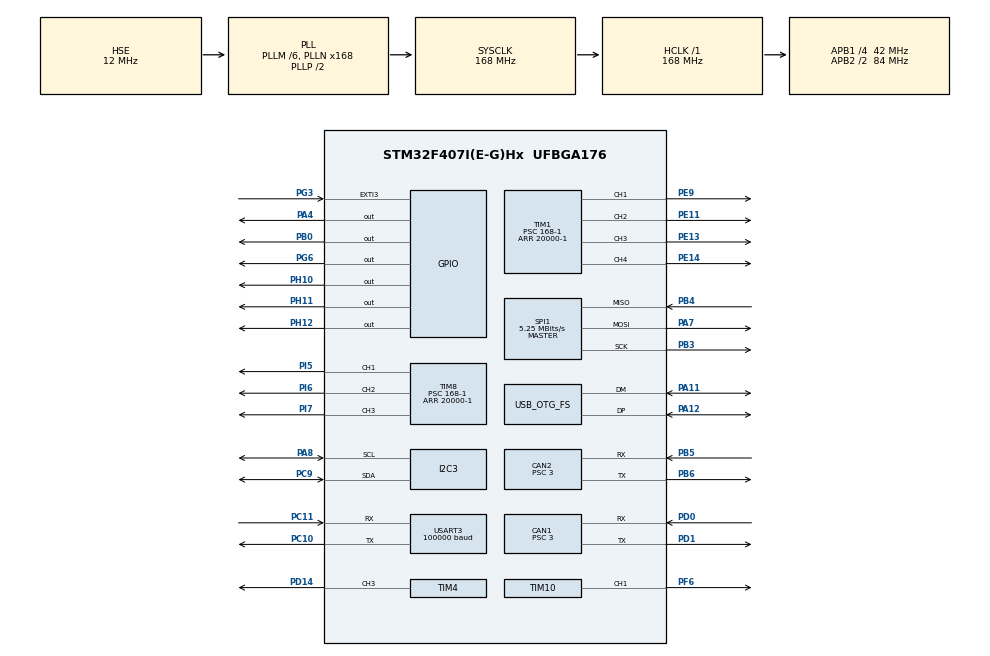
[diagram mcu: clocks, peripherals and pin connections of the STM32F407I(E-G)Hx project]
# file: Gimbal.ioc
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CAN1.BS1=CAN_BS1_10TQ
CAN1.BS2=CAN_BS2_3TQ
CAN1.CalculateBaudRate=1000000
CAN1.CalculateTimeBit=1000
CAN1.CalculateTimeQuantum=71.42857142857143
CAN1.Prescaler=3
CAN2.BS1=CAN_BS1_10TQ
CAN2.BS2=CAN_BS2_3TQ
CAN2.CalculateBaudRate=1000000
CAN2.CalculateTimeBit=1000
CAN2.CalculateTimeQuantum=71.42857142857143
CAN2.Prescaler=3
Dma.Request0=SPI1_RX
Dma.Request1=SPI1_TX
Dma.Request2=USART3_RX
Dma.SPI1_RX.0.Direction=DMA_PERIPH_TO_MEMORY
Dma.SPI1_RX.0.FIFOMode=DMA_FIFOMODE_DISABLE
Dma.SPI1_RX.0.Instance=DMA2_Stream0
Dma.SPI1_RX.0.MemDataAlignment=DMA_MDATAALIGN_BYTE
Dma.SPI1_RX.0.MemInc=DMA_MINC_ENABLE
Dma.SPI1_RX.0.Mode=DMA_NORMAL
Dma.SPI1_RX.0.PeriphDataAlignment=DMA_PDATAALIGN_BYTE
Dma.SPI1_RX.0.PeriphInc=DMA_PINC_DISABLE
Dma.SPI1_RX.0.Priority=DMA_PRIORITY_LOW
Dma.SPI1_TX.1.Direction=DMA_MEMORY_TO_PERIPH
Dma.SPI1_TX.1.FIFOMode=DMA_FIFOMODE_DISABLE
Dma.SPI1_TX.1.Instance=DMA2_Stream3
Dma.SPI1_TX.1.MemDataAlignment=DMA_MDATAALIGN_BYTE
Dma.SPI1_TX.1.MemInc=DMA_MINC_ENABLE
Dma.SPI1_TX.1.Mode=DMA_NORMAL
Dma.SPI1_TX.1.PeriphDataAlignment=DMA_PDATAALIGN_BYTE
Dma.SPI1_TX.1.PeriphInc=DMA_PINC_DISABLE
Dma.SPI1_TX.1.Priority=DMA_PRIORITY_LOW
Dma.USART3_RX.2.Direction=DMA_PERIPH_TO_MEMORY
Dma.USART3_RX.2.FIFOMode=DMA_FIFOMODE_DISABLE
Dma.USART3_RX.2.Instance=DMA1_Stream1
Dma.USART3_RX.2.MemDataAlignment=DMA_MDATAALIGN_BYTE
Dma.USART3_RX.2.MemInc=DMA_MINC_ENABLE
Dma.USART3_RX.2.Mode=DMA_CIRCULAR
Dma.USART3_RX.2.PeriphDataAlignment=DMA_PDATAALIGN_BYTE
Dma.USART3_RX.2.PeriphInc=DMA_PINC_DISABLE
Dma.USART3_RX.2.Priority=DMA_PRIORITY_LOW
I2C3.I2C_Mode=I2C_Fast
Mcu.Family=STM32F4
Mcu.Name=STM32F407I(E-G)Hx
Mcu.Package=UFBGA176
NVIC.CAN1_RX0_IRQn=true\:0\:0\:false\:false\:true\:true\:true\:true
NVIC.CAN1_TX_IRQn=true\:0\:0\:false\:false\:true\:true\:true\:true
NVIC.CAN2_RX0_IRQn=true\:0\:0\:true\:false\:true\:true\:true\:true
NVIC.CAN2_TX_IRQn=true\:0\:0\:true\:false\:true\:true\:true\:true
NVIC.DMA1_Stream1_IRQn=true\:0\:0\:false\:false\:true\:false\:true\:true
NVIC.DMA2_Stream0_IRQn=true\:0\:0\:false\:false\:true\:false\:true\:true
NVIC.DMA2_Stream3_IRQn=true\:0\:0\:false\:false\:true\:false\:true\:true
NVIC.OTG_FS_IRQn=true\:0\:0\:false\:false\:true\:false\:true\:true
NVIC.PriorityGroup=NVIC_PRIORITYGROUP_4
NVIC.TIM2_IRQn=true\:0\:0\:true\:false\:true\:true\:true\:true
NVIC.USART3_IRQn=true\:0\:0\:true\:false\:true\:true\:true\:true
PA11.Mode=Device_Only
PA11.Signal=USB_OTG_FS_DM
PA12.Mode=Device_Only
PA12.Signal=USB_OTG_FS_DP
PA13.Mode=Serial_Wire
PA13.Signal=SYS_JTMS-SWDIO
PA14.Mode=Serial_Wire
PA14.Signal=SYS_JTCK-SWCLK
PA4.PinState=GPIO_PIN_SET
PA4.Signal=GPIO_Output
PA7.Mode=Full_Duplex_Master
PA7.Signal=SPI1_MOSI
PA8.Mode=I2C
PA8.Signal=I2C3_SCL
PB0.PinState=GPIO_PIN_SET
PB0.Signal=GPIO_Output
PB3.Mode=Full_Duplex_Master
PB3.Signal=SPI1_SCK
PB4.Mode=Full_Duplex_Master
PB4.Signal=SPI1_MISO
PB5.Mode=CAN_Activate
PB5.Signal=CAN2_RX
PB6.Mode=CAN_Activate
PB6.Signal=CAN2_TX
PC10.Mode=Asynchronous
PC10.Signal=USART3_TX
PC11.Mode=Asynchronous
PC11.Signal=USART3_RX
PC9.Mode=I2C
PC9.Signal=I2C3_SDA
PD0.Mode=CAN_Activate
PD0.Signal=CAN1_RX
PD1.Mode=CAN_Activate
PD1.Signal=CAN1_TX
PD14.Signal=S_TIM4_CH3
PE11.Signal=S_TIM1_CH2
PE13.Signal=S_TIM1_CH3
PE14.Signal=S_TIM1_CH4
PE9.Signal=S_TIM1_CH1
PF6.Signal=S_TIM10_CH1
PG3.GPIO_ModeDefaultEXTI=GPIO_MODE_IT_FALLING
PG3.GPIO_PuPd=GPIO_PULLUP
PG3.Signal=GPXTI3
PG6.GPIO_Speed=GPIO_SPEED_FREQ_MEDIUM
PG6.PinState=GPIO_PIN_SET
PG6.Signal=GPIO_Output
PH0-OSC_IN.Mode=HSE-External-Oscillator
PH0-OSC_IN.Signal=RCC_OSC_IN
PH1-OSC_OUT.Mode=HSE-External-Oscillator
PH1-OSC_OUT.Signal=RCC_OSC_OUT
PH10.PinState=GPIO_PIN_SET
PH10.Signal=GPIO_Output
PH11.PinState=GPIO_PIN_SET
PH11.Signal=GPIO_Output
PH12.PinState=GPIO_PIN_SET
PH12.Signal=GPIO_Output
PI5.Signal=S_TIM8_CH1
PI6.Signal=S_TIM8_CH2
PI7.Signal=S_TIM8_CH3
ProjectManager.HeapSize=0x4000
ProjectManager.StackSize=0x4000
ProjectManager.TargetToolchain=MDK-ARM V5
RCC.48MHZClocksFreq_Value=48000000
RCC.AHBFreq_Value=168000000
RCC.APB1CLKDivider=RCC_HCLK_DIV4
RCC.APB1Freq_Value=42000000
RCC.APB1TimFreq_Value=84000000
RCC.APB2CLKDivider=RCC_HCLK_DIV2
RCC.APB2Freq_Value=84000000
RCC.APB2TimFreq_Value=168000000
RCC.CortexFreq_Value=168000000
RCC.HCLKFreq_Value=168000000
RCC.HSE_VALUE=12000000
RCC.HSI_VALUE=16000000
RCC.LSE_VALUE=32768
RCC.PLLM=6
RCC.PLLN=168
RCC.PLLQ=7
RCC.SYSCLKFreq_VALUE=168000000
RCC.SYSCLKSource=RCC_SYSCLKSOURCE_PLLCLK
RCC.VCOOutputFreq_Value=336000000
SH.S_TIM10_CH1.0=TIM10_CH1,PWM Generation1 CH1
SH.S_TIM1_CH1.0=TIM1_CH1,PWM Generation1 CH1
SH.S_TIM1_CH2.0=TIM1_CH2,PWM Generation2 CH2
SH.S_TIM1_CH3.0=TIM1_CH3,PWM Generation3 CH3
SH.S_TIM1_CH4.0=TIM1_CH4,PWM Generation4 CH4
SH.S_TIM4_CH3.0=TIM4_CH3,PWM Generation3 CH3
SH.S_TIM8_CH1.0=TIM8_CH1,PWM Generation1 CH1
SH.S_TIM8_CH2.0=TIM8_CH2,PWM Generation2 CH2
SH.S_TIM8_CH3.0=TIM8_CH3,Output Compare3 CH3
SPI1.BaudRatePrescaler=SPI_BAUDRATEPRESCALER_16
SPI1.CLKPhase=SPI_PHASE_2EDGE
SPI1.CLKPolarity=SPI_POLARITY_HIGH
SPI1.CalculateBaudRate=5.25 MBits/s
SPI1.Direction=SPI_DIRECTION_2LINES
SPI1.Mode=SPI_MODE_MASTER
SPI1.VirtualType=VM_MASTER
STMicroelectronics.X-CUBE-ALGOBUILD.1.4.0.LibraryCcDSPOoLibraryJjDSPOoLibrary=true
TIM1.Channel-PWM\ Generation1\ CH1=TIM_CHANNEL_1
TIM1.Channel-PWM\ Generation2\ CH2=TIM_CHANNEL_2
TIM1.Channel-PWM\ Generation3\ CH3=TIM_CHANNEL_3
TIM1.Channel-PWM\ Generation4\ CH4=TIM_CHANNEL_4
TIM1.Period=20000-1
TIM1.Prescaler=168-1
TIM1.Pulse-PWM\ Generation1\ CH1=2000
TIM1.Pulse-PWM\ Generation2\ CH2=2000
TIM1.Pulse-PWM\ Generation3\ CH3=2000
TIM1.Pulse-PWM\ Generation4\ CH4=2000
TIM10.Channel=TIM_CHANNEL_1
TIM10.Period=1000-1
TIM10.Prescaler=168-1
TIM2.AutoReloadPreload=TIM_AUTORELOAD_PRELOAD_ENABLE
TIM2.Period=1000-1
TIM2.Prescaler=84-1
TIM4.Channel-PWM\ Generation3\ CH3=TIM_CHANNEL_3
TIM4.Period=21000-1
TIM5.Period=65535
TIM8.Channel-Output\ Compare3\ CH3=TIM_CHANNEL_3
TIM8.Channel-PWM\ Generation1\ CH1=TIM_CHANNEL_1
TIM8.Channel-PWM\ Generation2\ CH2=TIM_CHANNEL_2
TIM8.Period=20000-1
TIM8.Prescaler=168-1
TIM8.Pulse-Output\ Compare3\ CH3=2000
TIM8.Pulse-PWM\ Generation1\ CH1=2000
TIM8.Pulse-PWM\ Generation2\ CH2=2000
USART3.BaudRate=100000
USART3.Mode=MODE_RX
USART3.Parity=PARITY_EVEN
USART3.VirtualMode=VM_ASYNC
USART3.WordLength=WORDLENGTH_9B
USB_DEVICE.CLASS_NAME_FS=CDC
USB_DEVICE.VirtualMode-CDC_FS=Cdc
USB_DEVICE.VirtualModeFS=Cdc_FS
USB_OTG_FS.VirtualMode=Device_Only
VP_CRC_VS_CRC.Mode=CRC_Activate
VP_STMicroelectronics.X-CUBE-ALGOBUILD_VS_DSPOoLibraryJjLibrary_1.4.0_1.4.0.Mode=DSPOoLibraryJjLibrary
VP_TIM10_VS_ClockSourceINT.Mode=Enable_Timer
VP_TIM1_VS_ClockSourceINT.Mode=Internal
VP_TIM2_VS_ClockSourceINT.Mode=Internal
VP_TIM5_VS_ClockSourceINT.Mode=Internal
VP_TIM8_VS_ClockSourceINT.Mode=Internal
VP_USB_DEVICE_VS_USB_DEVICE_CDC_FS.Mode=CDC_FS
board=custom

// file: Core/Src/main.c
/* USER CODE BEGIN Header */
/**
 ******************************************************************************
 * @file           : main.c
 * @brief          : Main program body
 ******************************************************************************
 * @attention
 *
 * Copyright (c) 2024 STMicroelectronics.
 * All rights reserved.
 *
 * This software is licensed under terms that can be found in the LICENSE file
 * in the root directory of this software component.
 * If no LICENSE file comes with this software, it is provided AS-IS.
 *
 ******************************************************************************
 */
/* USER CODE END Header */
#include "main.h"
#include "usb_device.h"

/* USER CODE BEGIN Includes */

#include "stm32f4xx_it.h"
#include "cpp_main.hpp"
#include "LED.h"
/* USER CODE END Includes */

CAN_HandleTypeDef hcan1;
CAN_HandleTypeDef hcan2;

CRC_HandleTypeDef hcrc;

I2C_HandleTypeDef hi2c3;

SPI_HandleTypeDef hspi1;
DMA_HandleTypeDef hdma_spi1_rx;
DMA_HandleTypeDef hdma_spi1_tx;

TIM_HandleTypeDef htim1;
TIM_HandleTypeDef htim2;
TIM_HandleTypeDef htim4;
TIM_HandleTypeDef htim5;
TIM_HandleTypeDef htim8;
TIM_HandleTypeDef htim10;

UART_HandleTypeDef huart3;
DMA_HandleTypeDef hdma_usart3_rx;

/* USER CODE BEGIN PV */

extern void main_demo();
extern void SysTick_Handler(void);
/* USER CODE END PV */

void SystemClock_Config(void);
static void MX_GPIO_Init(void);
static void MX_DMA_Init(void);
static void MX_CAN1_Init(void);
static void MX_CAN2_Init(void);
static void MX_I2C3_Init(void);
static void MX_SPI1_Init(void);
static void MX_TIM1_Init(void);
static void MX_TIM2_Init(void);
static void MX_TIM4_Init(void);
static void MX_TIM5_Init(void);
static void MX_TIM8_Init(void);
static void MX_TIM10_Init(void);
static void MX_USART3_UART_Init(void);
static void MX_CRC_Init(void);
/* USER CODE BEGIN PFP */
void EnableSystickIT(void);
/* USER CODE END PFP */

/* USER CODE BEGIN 0 */

/**
 * @brief  使能SysTick中断
 * 将SysTick中断的频率设置为1000Hz
 */
void EnableSystickIT(void)
{
  uint32_t tick_ms = 1; // 1

  HAL_SYSTICK_CLKSourceConfig(SYSTICK_CLKSOURCE_HCLK_DIV8);

  uint32_t reload = SystemCoreClock / 8000 * tick_ms; // SystemCoreClock / 8000 * tick_ms;

  SysTick->CTRL |= SysTick_CTRL_TICKINT_Msk; // Enable SysTick Interrupt
  SysTick->LOAD = reload;
  SysTick->CTRL |= SysTick_CTRL_ENABLE_Msk; // Enable SysTick
}

/* USER CODE END 0 */

int main(void)
{

  /* MCU Configuration--------------------------------------------------------*/

  /* Reset of all peripherals, Initializes the Flash interface and the Systick. */
  HAL_Init();

  /* Configure the system clock */
  SystemClock_Config();

  /* Initialize all configured peripherals */
  MX_GPIO_Init();
  MX_DMA_Init();
  MX_CAN1_Init();
  MX_CAN2_Init();
  MX_I2C3_Init();
  MX_SPI1_Init();
  MX_TIM1_Init();
  MX_TIM2_Init();
  MX_TIM4_Init();
  MX_TIM5_Init();
  MX_TIM8_Init();
  MX_TIM10_Init();
  MX_USART3_UART_Init();
  MX_CRC_Init();
  MX_USB_DEVICE_Init();
  /* USER CODE BEGIN 2 */
	main_demo();
  EnableSystickIT(); // 使能SysTick中断
	LED_ALL_ON();
  /* USER CODE END 2 */

  /* Infinite loop */
  while (1)
  {

  }
}

void SystemClock_Config(void)
{
  RCC_OscInitTypeDef RCC_OscInitStruct = {0};
  RCC_ClkInitTypeDef RCC_ClkInitStruct = {0};

  /** Configure the main internal regulator output voltage
  */
  __HAL_RCC_PWR_CLK_ENABLE();
  __HAL_PWR_VOLTAGESCALING_CONFIG(PWR_REGULATOR_VOLTAGE_SCALE1);

  /** Initializes the RCC Oscillators according to the specified parameters
  * in the RCC_OscInitTypeDef structure.
  */
  RCC_OscInitStruct.OscillatorType = RCC_OSCILLATORTYPE_HSE;
  RCC_OscInitStruct.HSEState = RCC_HSE_ON;
  RCC_OscInitStruct.PLL.PLLState = RCC_PLL_ON;
  RCC_OscInitStruct.PLL.PLLSource = RCC_PLLSOURCE_HSE;
  RCC_OscInitStruct.PLL.PLLM = 6;
  RCC_OscInitStruct.PLL.PLLN = 168;
  RCC_OscInitStruct.PLL.PLLP = RCC_PLLP_DIV2;
  RCC_OscInitStruct.PLL.PLLQ = 7;
  if (HAL_RCC_OscConfig(&RCC_OscInitStruct) != HAL_OK)
  {
    Error_Handler();
  }

  /** Initializes the CPU, AHB and APB buses clocks
  */
  RCC_ClkInitStruct.ClockType = RCC_CLOCKTYPE_HCLK|RCC_CLOCKTYPE_SYSCLK
                              |RCC_CLOCKTYPE_PCLK1|RCC_CLOCKTYPE_PCLK2;
  RCC_ClkInitStruct.SYSCLKSource = RCC_SYSCLKSOURCE_PLLCLK;
  RCC_ClkInitStruct.AHBCLKDivider = RCC_SYSCLK_DIV1;
  RCC_ClkInitStruct.APB1CLKDivider = RCC_HCLK_DIV4;
  RCC_ClkInitStruct.APB2CLKDivider = RCC_HCLK_DIV2;

  if (HAL_RCC_ClockConfig(&RCC_ClkInitStruct, FLASH_LATENCY_5) != HAL_OK)
  {
    Error_Handler();
  }
}

static void MX_CAN1_Init(void)
{

  hcan1.Instance = CAN1;
  hcan1.Init.Prescaler = 3;
  hcan1.Init.Mode = CAN_MODE_NORMAL;
  hcan1.Init.SyncJumpWidth = CAN_SJW_1TQ;
  hcan1.Init.TimeSeg1 = CAN_BS1_10TQ;
  hcan1.Init.TimeSeg2 = CAN_BS2_3TQ;
  hcan1.Init.TimeTriggeredMode = DISABLE;
  hcan1.Init.AutoBusOff = DISABLE;
  hcan1.Init.AutoWakeUp = DISABLE;
  hcan1.Init.AutoRetransmission = DISABLE;
  hcan1.Init.ReceiveFifoLocked = DISABLE;
  hcan1.Init.TransmitFifoPriority = DISABLE;
  if (HAL_CAN_Init(&hcan1) != HAL_OK)
  {
    Error_Handler();
  }

}

static void MX_CAN2_Init(void)
{

  hcan2.Instance = CAN2;
  hcan2.Init.Prescaler = 3;
  hcan2.Init.Mode = CAN_MODE_NORMAL;
  hcan2.Init.SyncJumpWidth = CAN_SJW_1TQ;
  hcan2.Init.TimeSeg1 = CAN_BS1_10TQ;
  hcan2.Init.TimeSeg2 = CAN_BS2_3TQ;
  hcan2.Init.TimeTriggeredMode = DISABLE;
  hcan2.Init.AutoBusOff = DISABLE;
  hcan2.Init.AutoWakeUp = DISABLE;
  hcan2.Init.AutoRetransmission = DISABLE;
  hcan2.Init.ReceiveFifoLocked = DISABLE;
  hcan2.Init.TransmitFifoPriority = DISABLE;
  if (HAL_CAN_Init(&hcan2) != HAL_OK)
  {
    Error_Handler();
  }

}

static void MX_CRC_Init(void)
{

  hcrc.Instance = CRC;
  if (HAL_CRC_Init(&hcrc) != HAL_OK)
  {
    Error_Handler();
  }

}

static void MX_I2C3_Init(void)
{

  hi2c3.Instance = I2C3;
  hi2c3.Init.ClockSpeed = 400000;
  hi2c3.Init.DutyCycle = I2C_DUTYCYCLE_2;
  hi2c3.Init.OwnAddress1 = 0;
  hi2c3.Init.AddressingMode = I2C_ADDRESSINGMODE_7BIT;
  hi2c3.Init.DualAddressMode = I2C_DUALADDRESS_DISABLE;
  hi2c3.Init.OwnAddress2 = 0;
  hi2c3.Init.GeneralCallMode = I2C_GENERALCALL_DISABLE;
  hi2c3.Init.NoStretchMode = I2C_NOSTRETCH_DISABLE;
  if (HAL_I2C_Init(&hi2c3) != HAL_OK)
  {
    Error_Handler();
  }

}

static void MX_SPI1_Init(void)
{

  /* SPI1 parameter configuration*/
  hspi1.Instance = SPI1;
  hspi1.Init.Mode = SPI_MODE_MASTER;
  hspi1.Init.Direction = SPI_DIRECTION_2LINES;
  hspi1.Init.DataSize = SPI_DATASIZE_8BIT;
  hspi1.Init.CLKPolarity = SPI_POLARITY_HIGH;
  hspi1.Init.CLKPhase = SPI_PHASE_2EDGE;
  hspi1.Init.NSS = SPI_NSS_SOFT;
  hspi1.Init.BaudRatePrescaler = SPI_BAUDRATEPRESCALER_16;
  hspi1.Init.FirstBit = SPI_FIRSTBIT_MSB;
  hspi1.Init.TIMode = SPI_TIMODE_DISABLE;
  hspi1.Init.CRCCalculation = SPI_CRCCALCULATION_DISABLE;
  hspi1.Init.CRCPolynomial = 10;
  if (HAL_SPI_Init(&hspi1) != HAL_OK)
  {
    Error_Handler();
  }

}

static void MX_TIM1_Init(void)
{

  TIM_ClockConfigTypeDef sClockSourceConfig = {0};
  TIM_MasterConfigTypeDef sMasterConfig = {0};
  TIM_OC_InitTypeDef sConfigOC = {0};
  TIM_BreakDeadTimeConfigTypeDef sBreakDeadTimeConfig = {0};

  htim1.Instance = TIM1;
  htim1.Init.Prescaler = 168-1;
  htim1.Init.CounterMode = TIM_COUNTERMODE_UP;
  htim1.Init.Period = 20000-1;
  htim1.Init.ClockDivision = TIM_CLOCKDIVISION_DIV1;
  htim1.Init.RepetitionCounter = 0;
  htim1.Init.AutoReloadPreload = TIM_AUTORELOAD_PRELOAD_DISABLE;
  if (HAL_TIM_Base_Init(&htim1) != HAL_OK)
  {
    Error_Handler();
  }
  sClockSourceConfig.ClockSource = TIM_CLOCKSOURCE_INTERNAL;
  if (HAL_TIM_ConfigClockSource(&htim1, &sClockSourceConfig) != HAL_OK)
  {
    Error_Handler();
  }
  if (HAL_TIM_PWM_Init(&htim1) != HAL_OK)
  {
    Error_Handler();
  }
  sMasterConfig.MasterOutputTrigger = TIM_TRGO_RESET;
  sMasterConfig.MasterSlaveMode = TIM_MASTERSLAVEMODE_DISABLE;
  if (HAL_TIMEx_MasterConfigSynchronization(&htim1, &sMasterConfig) != HAL_OK)
  {
    Error_Handler();
  }
  sConfigOC.OCMode = TIM_OCMODE_PWM1;
  sConfigOC.Pulse = 2000;
  sConfigOC.OCPolarity = TIM_OCPOLARITY_HIGH;
  sConfigOC.OCNPolarity = TIM_OCNPOLARITY_HIGH;
  sConfigOC.OCFastMode = TIM_OCFAST_DISABLE;
  sConfigOC.OCIdleState = TIM_OCIDLESTATE_RESET;
  sConfigOC.OCNIdleState = TIM_OCNIDLESTATE_RESET;
  if (HAL_TIM_PWM_ConfigChannel(&htim1, &sConfigOC, TIM_CHANNEL_1) != HAL_OK)
  {
    Error_Handler();
  }
  if (HAL_TIM_PWM_ConfigChannel(&htim1, &sConfigOC, TIM_CHANNEL_2) != HAL_OK)
  {
    Error_Handler();
  }
  if (HAL_TIM_PWM_ConfigChannel(&htim1, &sConfigOC, TIM_CHANNEL_3) != HAL_OK)
  {
    Error_Handler();
  }
  if (HAL_TIM_PWM_ConfigChannel(&htim1, &sConfigOC, TIM_CHANNEL_4) != HAL_OK)
  {
    Error_Handler();
  }
  sBreakDeadTimeConfig.OffStateRunMode = TIM_OSSR_DISABLE;
  sBreakDeadTimeConfig.OffStateIDLEMode = TIM_OSSI_DISABLE;
  sBreakDeadTimeConfig.LockLevel = TIM_LOCKLEVEL_OFF;
  sBreakDeadTimeConfig.DeadTime = 0;
  sBreakDeadTimeConfig.BreakState = TIM_BREAK_DISABLE;
  sBreakDeadTimeConfig.BreakPolarity = TIM_BREAKPOLARITY_HIGH;
  sBreakDeadTimeConfig.AutomaticOutput = TIM_AUTOMATICOUTPUT_DISABLE;
  if (HAL_TIMEx_ConfigBreakDeadTime(&htim1, &sBreakDeadTimeConfig) != HAL_OK)
  {
    Error_Handler();
  }
  HAL_TIM_MspPostInit(&htim1);

}

static void MX_TIM2_Init(void)
{

  TIM_ClockConfigTypeDef sClockSourceConfig = {0};
  TIM_MasterConfigTypeDef sMasterConfig = {0};

  htim2.Instance = TIM2;
  htim2.Init.Prescaler = 84-1;
  htim2.Init.CounterMode = TIM_COUNTERMODE_UP;
  htim2.Init.Period = 1000-1;
  htim2.Init.ClockDivision = TIM_CLOCKDIVISION_DIV1;
  htim2.Init.AutoReloadPreload = TIM_AUTORELOAD_PRELOAD_ENABLE;
  if (HAL_TIM_Base_Init(&htim2) != HAL_OK)
  {
    Error_Handler();
  }
  sClockSourceConfig.ClockSource = TIM_CLOCKSOURCE_INTERNAL;
  if (HAL_TIM_ConfigClockSource(&htim2, &sClockSourceConfig) != HAL_OK)
  {
    Error_Handler();
  }
  sMasterConfig.MasterOutputTrigger = TIM_TRGO_RESET;
  sMasterConfig.MasterSlaveMode = TIM_MASTERSLAVEMODE_DISABLE;
  if (HAL_TIMEx_MasterConfigSynchronization(&htim2, &sMasterConfig) != HAL_OK)
  {
    Error_Handler();
  }

}

static void MX_TIM4_Init(void)
{

  TIM_MasterConfigTypeDef sMasterConfig = {0};
  TIM_OC_InitTypeDef sConfigOC = {0};

  htim4.Instance = TIM4;
  htim4.Init.Prescaler = 0;
  htim4.Init.CounterMode = TIM_COUNTERMODE_UP;
  htim4.Init.Period = 21000-1;
  htim4.Init.ClockDivision = TIM_CLOCKDIVISION_DIV1;
  htim4.Init.AutoReloadPreload = TIM_AUTORELOAD_PRELOAD_DISABLE;
  if (HAL_TIM_PWM_Init(&htim4) != HAL_OK)
  {
    Error_Handler();
  }
  sMasterConfig.MasterOutputTrigger = TIM_TRGO_RESET;
  sMasterConfig.MasterSlaveMode = TIM_MASTERSLAVEMODE_DISABLE;
  if (HAL_TIMEx_MasterConfigSynchronization(&htim4, &sMasterConfig) != HAL_OK)
  {
    Error_Handler();
  }
  sConfigOC.OCMode = TIM_OCMODE_PWM1;
  sConfigOC.Pulse = 0;
  sConfigOC.OCPolarity = TIM_OCPOLARITY_HIGH;
  sConfigOC.OCFastMode = TIM_OCFAST_DISABLE;
  if (HAL_TIM_PWM_ConfigChannel(&htim4, &sConfigOC, TIM_CHANNEL_3) != HAL_OK)
  {
    Error_Handler();
  }
  HAL_TIM_MspPostInit(&htim4);

}

static void MX_TIM5_Init(void)
{

  TIM_ClockConfigTypeDef sClockSourceConfig = {0};
  TIM_MasterConfigTypeDef sMasterConfig = {0};

  htim5.Instance = TIM5;
  htim5.Init.Prescaler = 0;
  htim5.Init.CounterMode = TIM_COUNTERMODE_UP;
  htim5.Init.Period = 65535;
  htim5.Init.ClockDivision = TIM_CLOCKDIVISION_DIV1;
  htim5.Init.AutoReloadPreload = TIM_AUTORELOAD_PRELOAD_DISABLE;
  if (HAL_TIM_Base_Init(&htim5) != HAL_OK)
  {
    Error_Handler();
  }
  sClockSourceConfig.ClockSource = TIM_CLOCKSOURCE_INTERNAL;
  if (HAL_TIM_ConfigClockSource(&htim5, &sClockSourceConfig) != HAL_OK)
  {
    Error_Handler();
  }
  sMasterConfig.MasterOutputTrigger = TIM_TRGO_RESET;
  sMasterConfig.MasterSlaveMode = TIM_MASTERSLAVEMODE_DISABLE;
  if (HAL_TIMEx_MasterConfigSynchronization(&htim5, &sMasterConfig) != HAL_OK)
  {
    Error_Handler();
  }

}

static void MX_TIM8_Init(void)
{

  TIM_ClockConfigTypeDef sClockSourceConfig = {0};
  TIM_MasterConfigTypeDef sMasterConfig = {0};
  TIM_OC_InitTypeDef sConfigOC = {0};
  TIM_BreakDeadTimeConfigTypeDef sBreakDeadTimeConfig = {0};

  htim8.Instance = TIM8;
  htim8.Init.Prescaler = 168-1;
  htim8.Init.CounterMode = TIM_COUNTERMODE_UP;
  htim8.Init.Period = 20000-1;
  htim8.Init.ClockDivision = TIM_CLOCKDIVISION_DIV1;
  htim8.Init.RepetitionCounter = 0;
  htim8.Init.AutoReloadPreload = TIM_AUTORELOAD_PRELOAD_DISABLE;
  if (HAL_TIM_Base_Init(&htim8) != HAL_OK)
  {
    Error_Handler();
  }
  sClockSourceConfig.ClockSource = TIM_CLOCKSOURCE_INTERNAL;
  if (HAL_TIM_ConfigClockSource(&htim8, &sClockSourceConfig) != HAL_OK)
  {
    Error_Handler();
  }
  if (HAL_TIM_PWM_Init(&htim8) != HAL_OK)
  {
    Error_Handler();
  }
  if (HAL_TIM_OC_Init(&htim8) != HAL_OK)
  {
    Error_Handler();
  }
  sMasterConfig.MasterOutputTrigger = TIM_TRGO_RESET;
  sMasterConfig.MasterSlaveMode = TIM_MASTERSLAVEMODE_DISABLE;
  if (HAL_TIMEx_MasterConfigSynchronization(&htim8, &sMasterConfig) != HAL_OK)
  {
    Error_Handler();
  }
  sConfigOC.OCMode = TIM_OCMODE_PWM1;
  sConfigOC.Pulse = 2000;
  sConfigOC.OCPolarity = TIM_OCPOLARITY_HIGH;
  sConfigOC.OCNPolarity = TIM_OCNPOLARITY_HIGH;
  sConfigOC.OCFastMode = TIM_OCFAST_DISABLE;
  sConfigOC.OCIdleState = TIM_OCIDLESTATE_RESET;
  sConfigOC.OCNIdleState = TIM_OCNIDLESTATE_RESET;
  if (HAL_TIM_PWM_ConfigChannel(&htim8, &sConfigOC, TIM_CHANNEL_1) != HAL_OK)
  {
    Error_Handler();
  }
  if (HAL_TIM_PWM_ConfigChannel(&htim8, &sConfigOC, TIM_CHANNEL_2) != HAL_OK)
  {
    Error_Handler();
  }
  sConfigOC.OCMode = TIM_OCMODE_TIMING;
  if (HAL_TIM_OC_ConfigChannel(&htim8, &sConfigOC, TIM_CHANNEL_3) != HAL_OK)
  {
    Error_Handler();
  }
  sBreakDeadTimeConfig.OffStateRunMode = TIM_OSSR_DISABLE;
  sBreakDeadTimeConfig.OffStateIDLEMode = TIM_OSSI_DISABLE;
  sBreakDeadTimeConfig.LockLevel = TIM_LOCKLEVEL_OFF;
  sBreakDeadTimeConfig.DeadTime = 0;
  sBreakDeadTimeConfig.BreakState = TIM_BREAK_DISABLE;
  sBreakDeadTimeConfig.BreakPolarity = TIM_BREAKPOLARITY_HIGH;
  sBreakDeadTimeConfig.AutomaticOutput = TIM_AUTOMATICOUTPUT_DISABLE;
  if (HAL_TIMEx_ConfigBreakDeadTime(&htim8, &sBreakDeadTimeConfig) != HAL_OK)
  {
    Error_Handler();
  }
  HAL_TIM_MspPostInit(&htim8);

}

static void MX_TIM10_Init(void)
{

  TIM_OC_InitTypeDef sConfigOC = {0};

  htim10.Instance = TIM10;
  htim10.Init.Prescaler = 168-1;
  htim10.Init.CounterMode = TIM_COUNTERMODE_UP;
  htim10.Init.Period = 1000-1;
  htim10.Init.ClockDivision = TIM_CLOCKDIVISION_DIV1;
  htim10.Init.AutoReloadPreload = TIM_AUTORELOAD_PRELOAD_DISABLE;
  if (HAL_TIM_Base_Init(&htim10) != HAL_OK)
  {
    Error_Handler();
  }
  if (HAL_TIM_PWM_Init(&htim10) != HAL_OK)
  {
    Error_Handler();
  }
  sConfigOC.OCMode = TIM_OCMODE_PWM1;
  sConfigOC.Pulse = 0;
  sConfigOC.OCPolarity = TIM_OCPOLARITY_HIGH;
  sConfigOC.OCFastMode = TIM_OCFAST_DISABLE;
  if (HAL_TIM_PWM_ConfigChannel(&htim10, &sConfigOC, TIM_CHANNEL_1) != HAL_OK)
  {
    Error_Handler();
  }
  HAL_TIM_MspPostInit(&htim10);

}

static void MX_USART3_UART_Init(void)
{

  huart3.Instance = USART3;
  huart3.Init.BaudRate = 100000;
  huart3.Init.WordLength = UART_WORDLENGTH_9B;
  huart3.Init.StopBits = UART_STOPBITS_1;
  huart3.Init.Parity = UART_PARITY_EVEN;
  huart3.Init.Mode = UART_MODE_RX;
  huart3.Init.HwFlowCtl = UART_HWCONTROL_NONE;
  huart3.Init.OverSampling = UART_OVERSAMPLING_16;
  if (HAL_UART_Init(&huart3) != HAL_OK)
  {
    Error_Handler();
  }

}

static void MX_DMA_Init(void)
{

  /* DMA controller clock enable */
  __HAL_RCC_DMA2_CLK_ENABLE();
  __HAL_RCC_DMA1_CLK_ENABLE();

  /* DMA interrupt init */
  /* DMA1_Stream1_IRQn interrupt configuration */
  HAL_NVIC_SetPriority(DMA1_Stream1_IRQn, 0, 0);
  HAL_NVIC_EnableIRQ(DMA1_Stream1_IRQn);
  /* DMA2_Stream0_IRQn interrupt configuration */
  HAL_NVIC_SetPriority(DMA2_Stream0_IRQn, 0, 0);
  HAL_NVIC_EnableIRQ(DMA2_Stream0_IRQn);
  /* DMA2_Stream3_IRQn interrupt configuration */
  HAL_NVIC_SetPriority(DMA2_Stream3_IRQn, 0, 0);
  HAL_NVIC_EnableIRQ(DMA2_Stream3_IRQn);

}

static void MX_GPIO_Init(void)
{
  GPIO_InitTypeDef GPIO_InitStruct = {0};

  /* GPIO Ports Clock Enable */
  __HAL_RCC_GPIOB_CLK_ENABLE();
  __HAL_RCC_GPIOA_CLK_ENABLE();
  __HAL_RCC_GPIOD_CLK_ENABLE();
  __HAL_RCC_GPIOC_CLK_ENABLE();
  __HAL_RCC_GPIOI_CLK_ENABLE();
  __HAL_RCC_GPIOH_CLK_ENABLE();
  __HAL_RCC_GPIOG_CLK_ENABLE();
  __HAL_RCC_GPIOF_CLK_ENABLE();
  __HAL_RCC_GPIOE_CLK_ENABLE();

  /*Configure GPIO pin Output Level */
  HAL_GPIO_WritePin(GPIOG, GPIO_PIN_6, GPIO_PIN_SET);

  /*Configure GPIO pin Output Level */
  HAL_GPIO_WritePin(GPIOH, GPIO_PIN_12|GPIO_PIN_11|GPIO_PIN_10, GPIO_PIN_SET);

  /*Configure GPIO pin Output Level */
  HAL_GPIO_WritePin(GPIOA, GPIO_PIN_4, GPIO_PIN_SET);

  /*Configure GPIO pin Output Level */
  HAL_GPIO_WritePin(GPIOB, GPIO_PIN_0, GPIO_PIN_SET);

  /*Configure GPIO pin : PG6 */
  GPIO_InitStruct.Pin = GPIO_PIN_6;
  GPIO_InitStruct.Mode = GPIO_MODE_OUTPUT_PP;
  GPIO_InitStruct.Pull = GPIO_NOPULL;
  GPIO_InitStruct.Speed = GPIO_SPEED_FREQ_MEDIUM;
  HAL_GPIO_Init(GPIOG, &GPIO_InitStruct);

  /*Configure GPIO pins : PH12 PH11 PH10 */
  GPIO_InitStruct.Pin = GPIO_PIN_12|GPIO_PIN_11|GPIO_PIN_10;
  GPIO_InitStruct.Mode = GPIO_MODE_OUTPUT_PP;
  GPIO_InitStruct.Pull = GPIO_NOPULL;
  GPIO_InitStruct.Speed = GPIO_SPEED_FREQ_LOW;
  HAL_GPIO_Init(GPIOH, &GPIO_InitStruct);

  /*Configure GPIO pin : PG3 */
  GPIO_InitStruct.Pin = GPIO_PIN_3;
  GPIO_InitStruct.Mode = GPIO_MODE_IT_FALLING;
  GPIO_InitStruct.Pull = GPIO_PULLUP;
  HAL_GPIO_Init(GPIOG, &GPIO_InitStruct);

  /*Configure GPIO pin : PA4 */
  GPIO_InitStruct.Pin = GPIO_PIN_4;
  GPIO_InitStruct.Mode = GPIO_MODE_OUTPUT_PP;
  GPIO_InitStruct.Pull = GPIO_NOPULL;
  GPIO_InitStruct.Speed = GPIO_SPEED_FREQ_LOW;
  HAL_GPIO_Init(GPIOA, &GPIO_InitStruct);

  /*Configure GPIO pin : PB0 */
  GPIO_InitStruct.Pin = GPIO_PIN_0;
  GPIO_InitStruct.Mode = GPIO_MODE_OUTPUT_PP;
  GPIO_InitStruct.Pull = GPIO_NOPULL;
  GPIO_InitStruct.Speed = GPIO_SPEED_FREQ_LOW;
  HAL_GPIO_Init(GPIOB, &GPIO_InitStruct);

}

void Error_Handler(void)
{
  __disable_irq();
  while (1)
  {
  }
}
